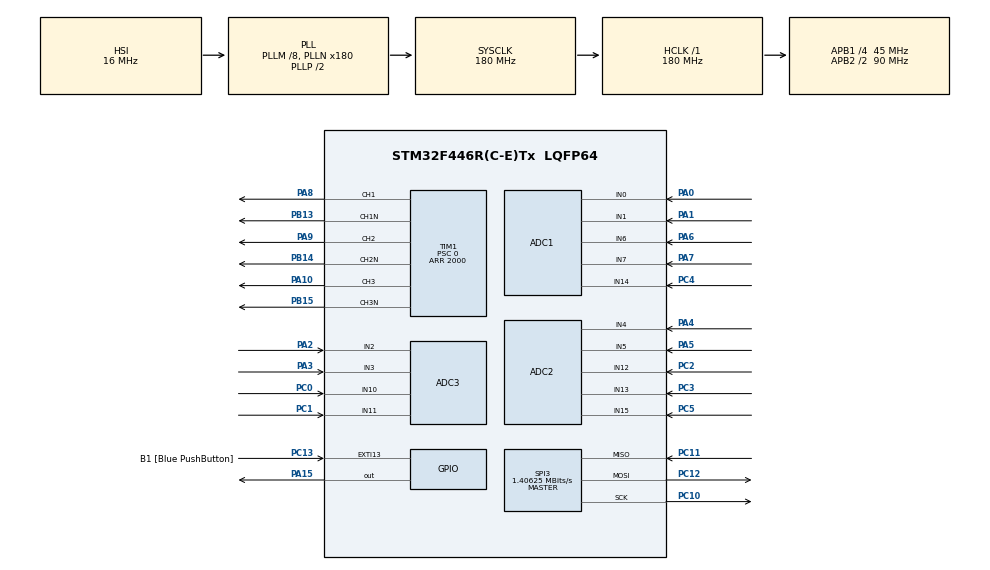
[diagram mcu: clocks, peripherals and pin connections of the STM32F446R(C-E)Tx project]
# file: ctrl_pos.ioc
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ADC1.Channel-0\#ChannelRegularConversion=ADC_CHANNEL_0
ADC1.Channel-1\#ChannelRegularConversion=ADC_CHANNEL_1
ADC1.Channel-2\#ChannelRegularConversion=ADC_CHANNEL_6
ADC1.Channel-3\#ChannelRegularConversion=ADC_CHANNEL_7
ADC1.Channel-4\#ChannelRegularConversion=ADC_CHANNEL_14
ADC1.ClockPrescaler=ADC_CLOCK_SYNC_PCLK_DIV4
ADC1.ContinuousConvMode=ENABLE
ADC1.DMAContinuousRequests=ENABLE
ADC1.EOCSelection=ADC_EOC_SEQ_CONV
ADC1.EnableAnalogWatchDog=false
ADC1.ExternalTrigConv=ADC_EXTERNALTRIGCONV_T1_CC1
ADC1.Mode=ADC_TRIPLEMODE_REGSIMULT
ADC1.NbrOfConversion=5
ADC1.NbrOfConversionFlag=1
ADC1.Rank-0\#ChannelRegularConversion=1
ADC1.Rank-1\#ChannelRegularConversion=2
ADC1.Rank-2\#ChannelRegularConversion=3
ADC1.Rank-3\#ChannelRegularConversion=4
ADC1.Rank-4\#ChannelRegularConversion=5
ADC1.SamplingTime-0\#ChannelRegularConversion=ADC_SAMPLETIME_3CYCLES
ADC1.SamplingTime-1\#ChannelRegularConversion=ADC_SAMPLETIME_3CYCLES
ADC1.SamplingTime-2\#ChannelRegularConversion=ADC_SAMPLETIME_3CYCLES
ADC1.SamplingTime-3\#ChannelRegularConversion=ADC_SAMPLETIME_3CYCLES
ADC1.SamplingTime-4\#ChannelRegularConversion=ADC_SAMPLETIME_3CYCLES
ADC1.master=1
ADC2.Channel-3\#ChannelRegularConversion=ADC_CHANNEL_12
ADC2.Channel-4\#ChannelRegularConversion=ADC_CHANNEL_13
ADC2.Channel-5\#ChannelRegularConversion=ADC_CHANNEL_4
ADC2.Channel-6\#ChannelRegularConversion=ADC_CHANNEL_5
ADC2.Channel-7\#ChannelRegularConversion=ADC_CHANNEL_15
ADC2.DMAAccessMode=ADC_DMAACCESSMODE_1
ADC2.EOCSelection=ADC_EOC_SEQ_CONV
ADC2.Mode=ADC_TRIPLEMODE_REGSIMULT
ADC2.NbrOfConversion=5
ADC2.NbrOfConversionFlag=1
ADC2.Rank-3\#ChannelRegularConversion=1
ADC2.Rank-4\#ChannelRegularConversion=2
ADC2.Rank-5\#ChannelRegularConversion=3
ADC2.Rank-6\#ChannelRegularConversion=4
ADC2.Rank-7\#ChannelRegularConversion=5
ADC2.SamplingTime-3\#ChannelRegularConversion=ADC_SAMPLETIME_3CYCLES
ADC2.SamplingTime-4\#ChannelRegularConversion=ADC_SAMPLETIME_3CYCLES
ADC2.SamplingTime-5\#ChannelRegularConversion=ADC_SAMPLETIME_3CYCLES
ADC2.SamplingTime-6\#ChannelRegularConversion=ADC_SAMPLETIME_3CYCLES
ADC2.SamplingTime-7\#ChannelRegularConversion=ADC_SAMPLETIME_3CYCLES
ADC3.Channel-0\#ChannelRegularConversion=ADC_CHANNEL_10
ADC3.Channel-1\#ChannelRegularConversion=ADC_CHANNEL_11
ADC3.Channel-2\#ChannelRegularConversion=ADC_CHANNEL_2
ADC3.Channel-3\#ChannelRegularConversion=ADC_CHANNEL_3
ADC3.Channel-4\#ChannelRegularConversion=ADC_CHANNEL_10
ADC3.EOCSelection=ADC_EOC_SEQ_CONV
ADC3.Mode=ADC_TRIPLEMODE_REGSIMULT
ADC3.NbrOfConversion=5
ADC3.NbrOfConversionFlag=1
ADC3.Rank-0\#ChannelRegularConversion=1
ADC3.Rank-1\#ChannelRegularConversion=2
ADC3.Rank-2\#ChannelRegularConversion=3
ADC3.Rank-3\#ChannelRegularConversion=4
ADC3.Rank-4\#ChannelRegularConversion=5
ADC3.SamplingTime-0\#ChannelRegularConversion=ADC_SAMPLETIME_3CYCLES
ADC3.SamplingTime-1\#ChannelRegularConversion=ADC_SAMPLETIME_3CYCLES
ADC3.SamplingTime-2\#ChannelRegularConversion=ADC_SAMPLETIME_3CYCLES
ADC3.SamplingTime-3\#ChannelRegularConversion=ADC_SAMPLETIME_3CYCLES
ADC3.SamplingTime-4\#ChannelRegularConversion=ADC_SAMPLETIME_3CYCLES
Dma.ADC1.0.Direction=DMA_PERIPH_TO_MEMORY
Dma.ADC1.0.FIFOMode=DMA_FIFOMODE_DISABLE
Dma.ADC1.0.Instance=DMA2_Stream0
Dma.ADC1.0.MemDataAlignment=DMA_MDATAALIGN_WORD
Dma.ADC1.0.MemInc=DMA_MINC_ENABLE
Dma.ADC1.0.Mode=DMA_CIRCULAR
Dma.ADC1.0.PeriphDataAlignment=DMA_PDATAALIGN_WORD
Dma.ADC1.0.PeriphInc=DMA_PINC_DISABLE
Dma.ADC1.0.Priority=DMA_PRIORITY_LOW
Dma.Request0=ADC1
Mcu.Family=STM32F4
Mcu.Name=STM32F446R(C-E)Tx
Mcu.Package=LQFP64
NVIC.DMA2_Stream0_IRQn=true\:0\:0\:false\:false\:true\:false\:true\:true
NVIC.PriorityGroup=NVIC_PRIORITYGROUP_0
PA0-WKUP.Signal=ADCx_IN0
PA1.Signal=ADCx_IN1
PA10.Signal=S_TIM1_CH3
PA13.GPIO_Label=TMS
PA13.Mode=Serial_Wire
PA13.Signal=SYS_JTMS-SWDIO
PA14.GPIO_Label=TCK
PA14.Mode=Serial_Wire
PA14.Signal=SYS_JTCK-SWCLK
PA15.Signal=GPIO_Output
PA2.Signal=ADCx_IN2
PA3.Signal=ADCx_IN3
PA4.Signal=ADCx_IN4
PA5.Signal=ADCx_IN5
PA6.Signal=ADCx_IN6
PA7.Signal=ADCx_IN7
PA8.Signal=S_TIM1_CH1
PA9.Signal=S_TIM1_CH2
PB13.Mode=PWM Generation1 CH1 CH1N
PB13.Signal=TIM1_CH1N
PB14.Mode=PWM Generation2 CH2 CH2N
PB14.Signal=TIM1_CH2N
PB15.Mode=PWM Generation3 CH3 CH3N
PB15.Signal=TIM1_CH3N
PB3.GPIO_Label=SWO
PB3.Signal=SYS_JTDO-SWO
PC0.Signal=ADCx_IN10
PC1.Signal=ADCx_IN11
PC10.Mode=Full_Duplex_Master
PC10.Signal=SPI3_SCK
PC11.Mode=Full_Duplex_Master
PC11.Signal=SPI3_MISO
PC12.Mode=Full_Duplex_Master
PC12.Signal=SPI3_MOSI
PC13.GPIO_Label=B1 [Blue PushButton]
PC13.GPIO_ModeDefaultEXTI=GPIO_MODE_IT_FALLING
PC13.Signal=GPXTI13
PC14-OSC32_IN.Mode=LSE-External-Oscillator
PC14-OSC32_IN.Signal=RCC_OSC32_IN
PC15-OSC32_OUT.Mode=LSE-External-Oscillator
PC15-OSC32_OUT.Signal=RCC_OSC32_OUT
PC2.Signal=ADCx_IN12
PC3.Signal=ADCx_IN13
PC4.Signal=ADCx_IN14
PC5.Signal=ADCx_IN15
PH0-OSC_IN.Mode=HSE-External-Oscillator
PH0-OSC_IN.Signal=RCC_OSC_IN
PH1-OSC_OUT.Mode=HSE-External-Oscillator
PH1-OSC_OUT.Signal=RCC_OSC_OUT
ProjectManager.HeapSize=0x200
ProjectManager.StackSize=0x400
ProjectManager.TargetToolchain=STM32CubeIDE
RCC.48MHZClocksFreq_Value=84000000
RCC.AHBFreq_Value=180000000
RCC.APB1CLKDivider=RCC_HCLK_DIV4
RCC.APB1Freq_Value=45000000
RCC.APB1TimFreq_Value=90000000
RCC.APB2CLKDivider=RCC_HCLK_DIV2
RCC.APB2Freq_Value=90000000
RCC.APB2TimFreq_Value=180000000
RCC.CortexFreq_Value=180000000
RCC.FLatency-AdvancedSettings=FLASH_LATENCY_5
RCC.HCLKFreq_Value=180000000
RCC.HSE_VALUE=8000000
RCC.HSI_VALUE=16000000
RCC.PLLM=8
RCC.PLLN=180
RCC.SYSCLKFreq_VALUE=180000000
RCC.SYSCLKSource=RCC_SYSCLKSOURCE_PLLCLK
RCC.USBFreq_Value=180000000
RCC.VCOOutputFreq_Value=360000000
SH.ADCx_IN0.0=ADC1_IN0,IN0
SH.ADCx_IN1.0=ADC1_IN1,IN1
SH.ADCx_IN10.0=ADC3_IN10,IN10
SH.ADCx_IN11.0=ADC3_IN11,IN11
SH.ADCx_IN12.0=ADC2_IN12,IN12
SH.ADCx_IN13.0=ADC2_IN13,IN13
SH.ADCx_IN14.0=ADC1_IN14,IN14
SH.ADCx_IN15.0=ADC2_IN15,IN15
SH.ADCx_IN2.0=ADC3_IN2,IN2
SH.ADCx_IN3.0=ADC3_IN3,IN3
SH.ADCx_IN4.0=ADC2_IN4,IN4
SH.ADCx_IN5.0=ADC2_IN5,IN5
SH.ADCx_IN6.0=ADC1_IN6,IN6
SH.ADCx_IN7.0=ADC1_IN7,IN7
SH.S_TIM1_CH1.0=TIM1_CH1,PWM Generation1 CH1 CH1N
SH.S_TIM1_CH2.0=TIM1_CH2,PWM Generation2 CH2 CH2N
SH.S_TIM1_CH3.0=TIM1_CH3,PWM Generation3 CH3 CH3N
SPI3.BaudRatePrescaler=SPI_BAUDRATEPRESCALER_32
SPI3.CLKPhase=SPI_PHASE_2EDGE
SPI3.CRCCalculation=SPI_CRCCALCULATION_DISABLE
SPI3.CalculateBaudRate=1.40625 MBits/s
SPI3.DataSize=SPI_DATASIZE_16BIT
SPI3.Direction=SPI_DIRECTION_2LINES
SPI3.Mode=SPI_MODE_MASTER
SPI3.VirtualType=VM_MASTER
TIM1.AutoReloadPreload=TIM_AUTORELOAD_PRELOAD_ENABLE
TIM1.AutomaticOutput=TIM_AUTOMATICOUTPUT_DISABLE
TIM1.Channel-PWM\ Generation1\ CH1\ CH1N=TIM_CHANNEL_1
TIM1.Channel-PWM\ Generation2\ CH2\ CH2N=TIM_CHANNEL_2
TIM1.Channel-PWM\ Generation3\ CH3\ CH3N=TIM_CHANNEL_3
TIM1.CounterMode=TIM_COUNTERMODE_CENTERALIGNED1
TIM1.DeadTime=4
TIM1.OCNPolarity_1=TIM_OCNPOLARITY_HIGH
TIM1.OCNPolarity_2=TIM_OCNPOLARITY_HIGH
TIM1.OCNPolarity_3=TIM_OCNPOLARITY_HIGH
TIM1.Period=2000
TIM1.Prescaler=0
TIM1.Pulse-PWM\ Generation1\ CH1\ CH1N=239
TIM1.Pulse-PWM\ Generation2\ CH2\ CH2N=239
TIM1.Pulse-PWM\ Generation3\ CH3\ CH3N=239
TIM1.TIM_MasterOutputTrigger=TIM_TRGO_UPDATE
TIM1.TIM_MasterSlaveMode=TIM_MASTERSLAVEMODE_ENABLE
VP_TIM1_VS_ClockSourceINT.Mode=Internal
board=NUCLEO-F446RE

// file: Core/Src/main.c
/* USER CODE BEGIN Header */
/**
  ******************************************************************************
  * @file           : main.c
  * @brief          : Main program body
  ******************************************************************************
  * @attention
  *
  * Copyright (c) 2026 STMicroelectronics.
  * All rights reserved.
  *
  * This software is licensed under terms that can be found in the LICENSE file
  * in the root directory of this software component.
  * If no LICENSE file comes with this software, it is provided AS-IS.
  *
  ******************************************************************************
  */
/* USER CODE END Header */
#include "main.h"

/* USER CODE BEGIN Includes */
#include <stdio.h>
#include <math.h>
/* USER CODE END Includes */

/* USER CODE BEGIN PD */
#define PUTCHAR_PROTOTYPE 		int __io_putchar(int ch)
#define PI						3.14159265358979
#define ENC2RADS				2.0*PI / 16383.0
#define POLE_PAIRS				7
#define THRESH_CTRL				0.005
/* USER CODE END PD */

ADC_HandleTypeDef hadc1;
ADC_HandleTypeDef hadc2;
ADC_HandleTypeDef hadc3;
DMA_HandleTypeDef hdma_adc1;

SPI_HandleTypeDef hspi3;

TIM_HandleTypeDef htim1;

/* USER CODE BEGIN PV */
uint32_t adc_dma_buf[15];

uint16_t angle_mes_encoder;
float angle_mes;
float angle_tgt;
float angle_err;
float angle_not;
float angle_elec;

int i = 0;
int t = 0;

float ampl = 0;
float drive_freq = 0;

float dutyA = 0.5;
float dutyB = 0.5;
float dutyC = 0.5;

float adc12 = 0;

float magA;
float magB;
float magC;
float angleA;
float angleB;
float angleC;
float angleV;

// GAINS
float gain_p = 0.1;

/* USER CODE END PV */

void SystemClock_Config(void);
static void MX_GPIO_Init(void);
static void MX_DMA_Init(void);
static void MX_ADC1_Init(void);
static void MX_ADC2_Init(void);
static void MX_ADC3_Init(void);
static void MX_TIM1_Init(void);
static void MX_SPI3_Init(void);

int main(void)
{

  /* MCU Configuration--------------------------------------------------------*/

  /* Reset of all peripherals, Initializes the Flash interface and the Systick. */
  HAL_Init();

  /* Configure the system clock */
  SystemClock_Config();

  /* Initialize all configured peripherals */
  MX_GPIO_Init();
  MX_DMA_Init();
  MX_ADC1_Init();
  MX_ADC2_Init();
  MX_ADC3_Init();
  MX_TIM1_Init();
  MX_SPI3_Init();
  /* USER CODE BEGIN 2 */
  HAL_TIM_PWM_Start(&htim1, TIM_CHANNEL_1);
  HAL_TIMEx_PWMN_Start(&htim1, TIM_CHANNEL_1);
  HAL_TIM_PWM_Start(&htim1, TIM_CHANNEL_2);
  HAL_TIMEx_PWMN_Start(&htim1, TIM_CHANNEL_2);
  HAL_TIM_PWM_Start(&htim1, TIM_CHANNEL_3);
  HAL_TIMEx_PWMN_Start(&htim1, TIM_CHANNEL_3);

  HAL_ADC_Start(&hadc2);
  HAL_ADC_Start(&hadc3);

  HAL_ADCEx_MultiModeStart_DMA(&hadc1, adc_dma_buf, 15);
  int pwm_period = TIM1->ARR;

  const uint16_t encoder_reg = 0x3FFF | 0x4000 | 0x8000; 	// reg | read | parity
  const uint16_t eerfl_reg = 0x0001 | 0x4000 | 0x8000;		// reg | read | parity

  /* USER CODE END 2 */

  /* Infinite loop */
  /* USER CODE BEGIN WHILE */

  // align motor to phase A
  dutyA = 0.52;
  dutyB = 0.48;
  dutyC = 0.48;

  TIM1->CCR1 = (int) (pwm_period * dutyA);
  TIM1->CCR2 = (int) (pwm_period * dutyB);
  TIM1->CCR3 = (int) (pwm_period * dutyC);

  HAL_Delay(2000);

  // calibrate encoder
  HAL_GPIO_WritePin(GPIOA, GPIO_PIN_15, GPIO_PIN_RESET);
  HAL_Delay(0.01);
  HAL_SPI_TransmitReceive(&hspi3, (uint8_t*)&encoder_reg, (uint8_t*)&angle_mes_encoder, 1, 100);
  HAL_Delay(0.01);
  HAL_GPIO_WritePin(GPIOA, GPIO_PIN_15, GPIO_PIN_SET);
  HAL_Delay(0.01);
  HAL_GPIO_WritePin(GPIOA, GPIO_PIN_15, GPIO_PIN_RESET);
  HAL_Delay(0.01);
  HAL_SPI_Receive(&hspi3, (uint8_t*)&angle_mes_encoder, 1, 100);
  HAL_Delay(0.01);
  HAL_GPIO_WritePin(GPIOA, GPIO_PIN_15, GPIO_PIN_SET);

  angle_mes_encoder &= 0x3FFF;
  angle_mes = angle_mes_encoder*ENC2RADS;	// measured angle is now in radians
  angle_not = angle_mes;	// "naught". zero position, in radians

  // clear PWM output
  TIM1->CCR1 = (int) 0;
  TIM1->CCR2 = (int) 0;
  TIM1->CCR3 = (int) 0;

  // phase angles
  angleA = angle_not;
  angleB = angle_not + PI/1.5;	// *2pi/3
  angleC = angle_not + PI/0.75;	// *4pi/3

  while (1)
  {

	// change angle with pots
	adc12 = 0.3*adc_dma_buf[12] + 0.7*adc12;

	if (adc_dma_buf[0] < 3000) {	// position control mode
		angle_tgt = 0.5 * (2*PI*((float) adc12) / 4095.0);
	}
	else {							// bonus speed control mode!
		angle_tgt += 0.2 * ((float) adc12) / 4095.0;
	}

	// retrieve rotor position
	HAL_GPIO_WritePin(GPIOA, GPIO_PIN_15, GPIO_PIN_RESET);
	HAL_SPI_TransmitReceive(&hspi3, (uint8_t*)&encoder_reg, (uint8_t*)&angle_mes_encoder, 1, 100);
	HAL_GPIO_WritePin(GPIOA, GPIO_PIN_15, GPIO_PIN_SET);
	angle_mes = (angle_mes_encoder & 0x3FFF) * ENC2RADS;

	// ******control position******
	// error
	angle_err = angle_tgt - angle_mes;	// rads
	if (angle_err>0) 	angle_err=fmodf(angle_err+PI,2*PI)-PI;
	else				angle_err=fmodf(angle_err-PI,2*PI)+PI;	// caps angle_err to (-pi,pi)

	// amplitude of voltage vector
	ampl = fabs(gain_p*angle_err);
	if (ampl>1) ampl = 1;

	// angle of voltage vector - set 90deg
	angle_elec = POLE_PAIRS*angle_mes + angle_not;
	angleV = angle_elec + PI/2.0*(angle_err>THRESH_CTRL) - PI/2.0*(angle_err<-THRESH_CTRL);	// orthogonal torque vector

	// phase vector magnitudes
	magA = ampl * cosf(angleV-angleA);
	magB = ampl * cosf(angleV-angleB);
	magC = ampl * cosf(angleV-angleC);

	// assign duty cycles
	dutyA = 0.5 + magA*0.5;
	dutyB = 0.5 + magB*0.5;
	dutyC = 0.5 + magC*0.5;
	// **************************

	// assign duty cycles
    TIM1->CCR1 = (int) (pwm_period * dutyA);
    TIM1->CCR2 = (int) (pwm_period * dutyB);
    TIM1->CCR3 = (int) (pwm_period * dutyC);

//    HAL_Delay(0.01);
    /* USER CODE END WHILE */

  }
}

void SystemClock_Config(void)
{
  RCC_OscInitTypeDef RCC_OscInitStruct = {0};
  RCC_ClkInitTypeDef RCC_ClkInitStruct = {0};

  /** Configure the main internal regulator output voltage
  */
  __HAL_RCC_PWR_CLK_ENABLE();
  __HAL_PWR_VOLTAGESCALING_CONFIG(PWR_REGULATOR_VOLTAGE_SCALE1);

  /** Initializes the RCC Oscillators according to the specified parameters
  * in the RCC_OscInitTypeDef structure.
  */
  RCC_OscInitStruct.OscillatorType = RCC_OSCILLATORTYPE_HSI;
  RCC_OscInitStruct.HSIState = RCC_HSI_ON;
  RCC_OscInitStruct.HSICalibrationValue = RCC_HSICALIBRATION_DEFAULT;
  RCC_OscInitStruct.PLL.PLLState = RCC_PLL_ON;
  RCC_OscInitStruct.PLL.PLLSource = RCC_PLLSOURCE_HSI;
  RCC_OscInitStruct.PLL.PLLM = 8;
  RCC_OscInitStruct.PLL.PLLN = 180;
  RCC_OscInitStruct.PLL.PLLP = RCC_PLLP_DIV2;
  RCC_OscInitStruct.PLL.PLLQ = 2;
  RCC_OscInitStruct.PLL.PLLR = 2;
  if (HAL_RCC_OscConfig(&RCC_OscInitStruct) != HAL_OK)
  {
    Error_Handler();
  }

  /** Activate the Over-Drive mode
  */
  if (HAL_PWREx_EnableOverDrive() != HAL_OK)
  {
    Error_Handler();
  }

  /** Initializes the CPU, AHB and APB buses clocks
  */
  RCC_ClkInitStruct.ClockType = RCC_CLOCKTYPE_HCLK|RCC_CLOCKTYPE_SYSCLK
                              |RCC_CLOCKTYPE_PCLK1|RCC_CLOCKTYPE_PCLK2;
  RCC_ClkInitStruct.SYSCLKSource = RCC_SYSCLKSOURCE_PLLCLK;
  RCC_ClkInitStruct.AHBCLKDivider = RCC_SYSCLK_DIV1;
  RCC_ClkInitStruct.APB1CLKDivider = RCC_HCLK_DIV4;
  RCC_ClkInitStruct.APB2CLKDivider = RCC_HCLK_DIV2;

  if (HAL_RCC_ClockConfig(&RCC_ClkInitStruct, FLASH_LATENCY_5) != HAL_OK)
  {
    Error_Handler();
  }
}

static void MX_ADC1_Init(void)
{

  ADC_MultiModeTypeDef multimode = {0};
  ADC_ChannelConfTypeDef sConfig = {0};

  /** Configure the global features of the ADC (Clock, Resolution, Data Alignment and number of conversion)
  */
  hadc1.Instance = ADC1;
  hadc1.Init.ClockPrescaler = ADC_CLOCK_SYNC_PCLK_DIV4;
  hadc1.Init.Resolution = ADC_RESOLUTION_12B;
  hadc1.Init.ScanConvMode = ENABLE;
  hadc1.Init.ContinuousConvMode = ENABLE;
  hadc1.Init.DiscontinuousConvMode = DISABLE;
  hadc1.Init.ExternalTrigConvEdge = ADC_EXTERNALTRIGCONVEDGE_RISING;
  hadc1.Init.ExternalTrigConv = ADC_EXTERNALTRIGCONV_T1_CC1;
  hadc1.Init.DataAlign = ADC_DATAALIGN_RIGHT;
  hadc1.Init.NbrOfConversion = 5;
  hadc1.Init.DMAContinuousRequests = ENABLE;
  hadc1.Init.EOCSelection = ADC_EOC_SEQ_CONV;
  if (HAL_ADC_Init(&hadc1) != HAL_OK)
  {
    Error_Handler();
  }

  /** Configure the ADC multi-mode
  */
  multimode.Mode = ADC_TRIPLEMODE_REGSIMULT;
  multimode.DMAAccessMode = ADC_DMAACCESSMODE_1;
  multimode.TwoSamplingDelay = ADC_TWOSAMPLINGDELAY_5CYCLES;
  if (HAL_ADCEx_MultiModeConfigChannel(&hadc1, &multimode) != HAL_OK)
  {
    Error_Handler();
  }

  /** Configure for the selected ADC regular channel its corresponding rank in the sequencer and its sample time.
  */
  sConfig.Channel = ADC_CHANNEL_0;
  sConfig.Rank = 1;
  sConfig.SamplingTime = ADC_SAMPLETIME_3CYCLES;
  if (HAL_ADC_ConfigChannel(&hadc1, &sConfig) != HAL_OK)
  {
    Error_Handler();
  }

  /** Configure for the selected ADC regular channel its corresponding rank in the sequencer and its sample time.
  */
  sConfig.Channel = ADC_CHANNEL_1;
  sConfig.Rank = 2;
  if (HAL_ADC_ConfigChannel(&hadc1, &sConfig) != HAL_OK)
  {
    Error_Handler();
  }

  /** Configure for the selected ADC regular channel its corresponding rank in the sequencer and its sample time.
  */
  sConfig.Channel = ADC_CHANNEL_6;
  sConfig.Rank = 3;
  if (HAL_ADC_ConfigChannel(&hadc1, &sConfig) != HAL_OK)
  {
    Error_Handler();
  }

  /** Configure for the selected ADC regular channel its corresponding rank in the sequencer and its sample time.
  */
  sConfig.Channel = ADC_CHANNEL_7;
  sConfig.Rank = 4;
  if (HAL_ADC_ConfigChannel(&hadc1, &sConfig) != HAL_OK)
  {
    Error_Handler();
  }

  /** Configure for the selected ADC regular channel its corresponding rank in the sequencer and its sample time.
  */
  sConfig.Channel = ADC_CHANNEL_14;
  sConfig.Rank = 5;
  if (HAL_ADC_ConfigChannel(&hadc1, &sConfig) != HAL_OK)
  {
    Error_Handler();
  }

}

static void MX_ADC2_Init(void)
{

  ADC_ChannelConfTypeDef sConfig = {0};

  /** Configure the global features of the ADC (Clock, Resolution, Data Alignment and number of conversion)
  */
  hadc2.Instance = ADC2;
  hadc2.Init.ClockPrescaler = ADC_CLOCK_SYNC_PCLK_DIV4;
  hadc2.Init.Resolution = ADC_RESOLUTION_12B;
  hadc2.Init.ScanConvMode = ENABLE;
  hadc2.Init.ContinuousConvMode = ENABLE;
  hadc2.Init.DiscontinuousConvMode = DISABLE;
  hadc2.Init.DataAlign = ADC_DATAALIGN_RIGHT;
  hadc2.Init.NbrOfConversion = 5;
  hadc2.Init.DMAContinuousRequests = DISABLE;
  hadc2.Init.EOCSelection = ADC_EOC_SEQ_CONV;
  if (HAL_ADC_Init(&hadc2) != HAL_OK)
  {
    Error_Handler();
  }

  /** Configure for the selected ADC regular channel its corresponding rank in the sequencer and its sample time.
  */
  sConfig.Channel = ADC_CHANNEL_12;
  sConfig.Rank = 1;
  sConfig.SamplingTime = ADC_SAMPLETIME_3CYCLES;
  if (HAL_ADC_ConfigChannel(&hadc2, &sConfig) != HAL_OK)
  {
    Error_Handler();
  }

  /** Configure for the selected ADC regular channel its corresponding rank in the sequencer and its sample time.
  */
  sConfig.Channel = ADC_CHANNEL_13;
  sConfig.Rank = 2;
  if (HAL_ADC_ConfigChannel(&hadc2, &sConfig) != HAL_OK)
  {
    Error_Handler();
  }

  /** Configure for the selected ADC regular channel its corresponding rank in the sequencer and its sample time.
  */
  sConfig.Channel = ADC_CHANNEL_4;
  sConfig.Rank = 3;
  if (HAL_ADC_ConfigChannel(&hadc2, &sConfig) != HAL_OK)
  {
    Error_Handler();
  }

  /** Configure for the selected ADC regular channel its corresponding rank in the sequencer and its sample time.
  */
  sConfig.Channel = ADC_CHANNEL_5;
  sConfig.Rank = 4;
  if (HAL_ADC_ConfigChannel(&hadc2, &sConfig) != HAL_OK)
  {
    Error_Handler();
  }

  /** Configure for the selected ADC regular channel its corresponding rank in the sequencer and its sample time.
  */
  sConfig.Channel = ADC_CHANNEL_15;
  sConfig.Rank = 5;
  if (HAL_ADC_ConfigChannel(&hadc2, &sConfig) != HAL_OK)
  {
    Error_Handler();
  }

}

static void MX_ADC3_Init(void)
{

  ADC_ChannelConfTypeDef sConfig = {0};

  /** Configure the global features of the ADC (Clock, Resolution, Data Alignment and number of conversion)
  */
  hadc3.Instance = ADC3;
  hadc3.Init.ClockPrescaler = ADC_CLOCK_SYNC_PCLK_DIV4;
  hadc3.Init.Resolution = ADC_RESOLUTION_12B;
  hadc3.Init.ScanConvMode = ENABLE;
  hadc3.Init.ContinuousConvMode = ENABLE;
  hadc3.Init.DiscontinuousConvMode = DISABLE;
  hadc3.Init.DataAlign = ADC_DATAALIGN_RIGHT;
  hadc3.Init.NbrOfConversion = 5;
  hadc3.Init.DMAContinuousRequests = DISABLE;
  hadc3.Init.EOCSelection = ADC_EOC_SEQ_CONV;
  if (HAL_ADC_Init(&hadc3) != HAL_OK)
  {
    Error_Handler();
  }

  /** Configure for the selected ADC regular channel its corresponding rank in the sequencer and its sample time.
  */
  sConfig.Channel = ADC_CHANNEL_10;
  sConfig.Rank = 1;
  sConfig.SamplingTime = ADC_SAMPLETIME_3CYCLES;
  if (HAL_ADC_ConfigChannel(&hadc3, &sConfig) != HAL_OK)
  {
    Error_Handler();
  }

  /** Configure for the selected ADC regular channel its corresponding rank in the sequencer and its sample time.
  */
  sConfig.Channel = ADC_CHANNEL_11;
  sConfig.Rank = 2;
  if (HAL_ADC_ConfigChannel(&hadc3, &sConfig) != HAL_OK)
  {
    Error_Handler();
  }

  /** Configure for the selected ADC regular channel its corresponding rank in the sequencer and its sample time.
  */
  sConfig.Channel = ADC_CHANNEL_2;
  sConfig.Rank = 3;
  if (HAL_ADC_ConfigChannel(&hadc3, &sConfig) != HAL_OK)
  {
    Error_Handler();
  }

  /** Configure for the selected ADC regular channel its corresponding rank in the sequencer and its sample time.
  */
  sConfig.Channel = ADC_CHANNEL_3;
  sConfig.Rank = 4;
  if (HAL_ADC_ConfigChannel(&hadc3, &sConfig) != HAL_OK)
  {
    Error_Handler();
  }

  /** Configure for the selected ADC regular channel its corresponding rank in the sequencer and its sample time.
  */
  sConfig.Channel = ADC_CHANNEL_10;
  sConfig.Rank = 5;
  if (HAL_ADC_ConfigChannel(&hadc3, &sConfig) != HAL_OK)
  {
    Error_Handler();
  }

}

static void MX_SPI3_Init(void)
{

  /* SPI3 parameter configuration*/
  hspi3.Instance = SPI3;
  hspi3.Init.Mode = SPI_MODE_MASTER;
  hspi3.Init.Direction = SPI_DIRECTION_2LINES;
  hspi3.Init.DataSize = SPI_DATASIZE_16BIT;
  hspi3.Init.CLKPolarity = SPI_POLARITY_LOW;
  hspi3.Init.CLKPhase = SPI_PHASE_2EDGE;
  hspi3.Init.NSS = SPI_NSS_SOFT;
  hspi3.Init.BaudRatePrescaler = SPI_BAUDRATEPRESCALER_32;
  hspi3.Init.FirstBit = SPI_FIRSTBIT_MSB;
  hspi3.Init.TIMode = SPI_TIMODE_DISABLE;
  hspi3.Init.CRCCalculation = SPI_CRCCALCULATION_DISABLE;
  hspi3.Init.CRCPolynomial = 10;
  if (HAL_SPI_Init(&hspi3) != HAL_OK)
  {
    Error_Handler();
  }

}

static void MX_TIM1_Init(void)
{

  TIM_ClockConfigTypeDef sClockSourceConfig = {0};
  TIM_MasterConfigTypeDef sMasterConfig = {0};
  TIM_OC_InitTypeDef sConfigOC = {0};
  TIM_BreakDeadTimeConfigTypeDef sBreakDeadTimeConfig = {0};

  htim1.Instance = TIM1;
  htim1.Init.Prescaler = 0;
  htim1.Init.CounterMode = TIM_COUNTERMODE_CENTERALIGNED1;
  htim1.Init.Period = 16000;
  htim1.Init.ClockDivision = TIM_CLOCKDIVISION_DIV1;
  htim1.Init.RepetitionCounter = 0;
  htim1.Init.AutoReloadPreload = TIM_AUTORELOAD_PRELOAD_ENABLE;
  if (HAL_TIM_Base_Init(&htim1) != HAL_OK)
  {
    Error_Handler();
  }
  sClockSourceConfig.ClockSource = TIM_CLOCKSOURCE_INTERNAL;
  if (HAL_TIM_ConfigClockSource(&htim1, &sClockSourceConfig) != HAL_OK)
  {
    Error_Handler();
  }
  if (HAL_TIM_PWM_Init(&htim1) != HAL_OK)
  {
    Error_Handler();
  }
  sMasterConfig.MasterOutputTrigger = TIM_TRGO_UPDATE;
  sMasterConfig.MasterSlaveMode = TIM_MASTERSLAVEMODE_ENABLE;
  if (HAL_TIMEx_MasterConfigSynchronization(&htim1, &sMasterConfig) != HAL_OK)
  {
    Error_Handler();
  }
  sConfigOC.OCMode = TIM_OCMODE_PWM1;
  sConfigOC.Pulse = 239;
  sConfigOC.OCPolarity = TIM_OCPOLARITY_HIGH;
  sConfigOC.OCNPolarity = TIM_OCNPOLARITY_HIGH;
  sConfigOC.OCFastMode = TIM_OCFAST_DISABLE;
  sConfigOC.OCIdleState = TIM_OCIDLESTATE_RESET;
  sConfigOC.OCNIdleState = TIM_OCNIDLESTATE_RESET;
  if (HAL_TIM_PWM_ConfigChannel(&htim1, &sConfigOC, TIM_CHANNEL_1) != HAL_OK)
  {
    Error_Handler();
  }
  if (HAL_TIM_PWM_ConfigChannel(&htim1, &sConfigOC, TIM_CHANNEL_2) != HAL_OK)
  {
    Error_Handler();
  }
  if (HAL_TIM_PWM_ConfigChannel(&htim1, &sConfigOC, TIM_CHANNEL_3) != HAL_OK)
  {
    Error_Handler();
  }
  sBreakDeadTimeConfig.OffStateRunMode = TIM_OSSR_DISABLE;
  sBreakDeadTimeConfig.OffStateIDLEMode = TIM_OSSI_DISABLE;
  sBreakDeadTimeConfig.LockLevel = TIM_LOCKLEVEL_OFF;
  sBreakDeadTimeConfig.DeadTime = 4;
  sBreakDeadTimeConfig.BreakState = TIM_BREAK_DISABLE;
  sBreakDeadTimeConfig.BreakPolarity = TIM_BREAKPOLARITY_HIGH;
  sBreakDeadTimeConfig.AutomaticOutput = TIM_AUTOMATICOUTPUT_DISABLE;
  if (HAL_TIMEx_ConfigBreakDeadTime(&htim1, &sBreakDeadTimeConfig) != HAL_OK)
  {
    Error_Handler();
  }
  HAL_TIM_MspPostInit(&htim1);

}

static void MX_DMA_Init(void)
{

  /* DMA controller clock enable */
  __HAL_RCC_DMA2_CLK_ENABLE();

  /* DMA interrupt init */
  /* DMA2_Stream0_IRQn interrupt configuration */
//  HAL_NVIC_SetPriority(DMA2_Stream0_IRQn, 0, 0);
//  HAL_NVIC_EnableIRQ(DMA2_Stream0_IRQn);

}

static void MX_GPIO_Init(void)
{
  GPIO_InitTypeDef GPIO_InitStruct = {0};

  /* GPIO Ports Clock Enable */
  __HAL_RCC_GPIOC_CLK_ENABLE();
  __HAL_RCC_GPIOH_CLK_ENABLE();
  __HAL_RCC_GPIOA_CLK_ENABLE();
  __HAL_RCC_GPIOB_CLK_ENABLE();

  /*Configure GPIO pin Output Level */
  HAL_GPIO_WritePin(GPIOA, GPIO_PIN_15, GPIO_PIN_RESET);

  /*Configure GPIO pin : B1_Pin */
  GPIO_InitStruct.Pin = B1_Pin;
  GPIO_InitStruct.Mode = GPIO_MODE_IT_FALLING;
  GPIO_InitStruct.Pull = GPIO_NOPULL;
  HAL_GPIO_Init(B1_GPIO_Port, &GPIO_InitStruct);

  /*Configure GPIO pin : PA15 */
  GPIO_InitStruct.Pin = GPIO_PIN_15;
  GPIO_InitStruct.Mode = GPIO_MODE_OUTPUT_PP;
  GPIO_InitStruct.Pull = GPIO_NOPULL;
  GPIO_InitStruct.Speed = GPIO_SPEED_FREQ_LOW;
  HAL_GPIO_Init(GPIOA, &GPIO_InitStruct);

}

void Error_Handler(void)
{
  __disable_irq();
  while (1)
  {
  }
}
